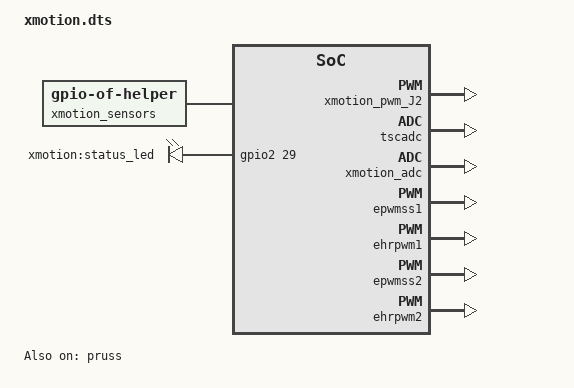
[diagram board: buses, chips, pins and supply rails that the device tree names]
// Copyright 2013
// Charles Steinkuehler <charles@steinkuehler.net>
//
// This program is free software; you can redistribute it and/or modify
// it under the terms of the GNU General Public License as published by
// the Free Software Foundation; either version 2 of the License, or
// (at your option) any later version.
//
// This program is distributed in the hope that it will be useful,
// but WITHOUT ANY WARRANTY; without even the implied warranty of
// MERCHANTABILITY or FITNESS FOR A PARTICULAR PURPOSE.  See the
// GNU General Public License for more details.
//
// You should have received a copy of the GNU General Public License
// along with this program; if not, write to the Free Software
// Foundation, Inc., 59 Temple Place, Suite 330, Boston, MA 02111-1307 USA

/dts-v1/;
/plugin/;

/ {
	compatible = "ti,beaglebone", "ti,beaglebone-black";

	/* identification */
	part-number = "xmotion";
	version = "1";

	exclusive-use =
	/* state the resources this cape uses */
	//"P9.24",	/* gpio0.15	UartTX	*/
	//"P9.26",	/* gpio0.14	UartRX	*/
	/* ------ IO POWER ------ */

		"P8.7",		/* gpio2.2  Power_Enable */

	/* ------ PWM ------ */

		"P8.13",	/* gpio0.23  EHRPWM2B   PWM0  */
		"ehrpwm1A",
		"ehrpwm2A",

	/* ------ AUX OUTPUTS ------*/

		"P8.26",	/* gpio1.29	Aux1RLY	*/
		"P9.28",	/* gpio3.17	Aux2RLY */
		"P9.41",	/* *P9_41A* gpio0.20	AUX3RLY	*/
		"P9.27",	/* gpio3.19	Aux4RLY */


	/* ------ STEPPERS ------ */

		"P8.12",	/* gpio1.12  #X_STEP */
		"P8.11",	/* gpio1.13  #X_DIR */
		"P8.16",	/* gpio1.14  #y1_step */
		"P8.15",	/* gpio1.15  #y1_dir */
		"P9.15",	/* gpio1.16  #Z_STEP */
		"P9.23",	/* gpio1.17  #Z_DIR */
		"P9.22",	/* gpio0.2   #y2_STEP */
		//"P9.21",	/* gpio0.3   #y2_dir */
		"P9.18",	/* gpio0.2   #A_STEP */
		"P9.17",	/* gpio0.5   #A_DIR */
							//"P9.12",        /* gpio1.28  DMUX_CLK */
		"pru1",
		"pruss",

	/* ------ SENSORS ------ */

		"P8.8",		/* gpio2.3	Home_X	*/
		"P8.9",		/* gpio2.5	Home_Y1	*/
		"P8.10",	/* gpio2.4	Home_b	*/
		"P8.14",	/* gpio0.26	Home_Z	*/
		"P8.17",	/* gpio0.27	TorchUp	*/
		"P8.18",	/* gpio2.1	TorchDn	*/
		"P9.31",	/* gpio3.14	Input4 */
		"P9.30",	/* gpio3.16	Input3	*/
		"P9.29",	/* gpio3.15	Input2	*/
		"P9.25",	/* gpio3.21	Input1	*/
		"P9.12",	/* gpio1.28	ESTOP	*/
		"P8.19",	/* gpio0.22	ArcOK	*/
		"P9.16",	/* gpio1.19	FloHead */
		"P9.13",	/* gpio0.31	Z_ALERT */
		//"P9.12",	/* gpio1.28	A_ALERT */
		"P9.11",	/* gpio0.30	b_ALERT*/
		"P9.42",	/* gpio3.18	X_ALERT */
		"P9.14",	/* gpio1.18	Y1_ALERT*/


	/* ------ ADC ------ */

		"P9.33",	/* AIN4		ANALOG1	*/
		"P9.35",	/* AIN6		ANALOG2	*/
		"P9.36",	/* AIN5		ANALOG3	*/
		"P9.37",	/* AIN2		ANALOG4 */
		"tscadc",

	/* ------ LED ------ */

  	"P8.26";        /* gpio1.29       LED     */

		/* ----------- IO ENABLE ------------ */

		fragment@0 {
			target = <&am33xx_pinmux>;
			__overlay__ {

				xmotion_io_enable_pins: pinmux_xmotion_io_enable_pins {
					pinctrl-single,pins = <
						//0x090 0x07  /*  P8-7 TIMER4     gpmc_advn_ale.gpio2[2] */
					>;
				};
			};
		};

		fragment@1 {
			target = <&ocp>;
			__overlay__ {

				xmotion_io_enables {
					compatible = "gpio-of-helper";
					status = "okay";
					pinctrl-names = "default";
					pinctrl-0 = <&xmotion_io_enable_pins>;

					/*io_enable_n {
						gpio-name = "xmotion:io_enable_n";
						gpio = <&gpio3 2 0>;
						output;
						init-high;
					};*/
				};
			};
		};

		/* ----------- PWM ------------ */

		fragment@11 {
			target = <&epwmss1>;
			__overlay__ {
				status = "okay";
			};
		};

		fragment@12 {
			target = <&ehrpwm1>;
			__overlay__ {
				status = "okay";
			};
		};

		fragment@13 {
			target = <&epwmss2>;
			__overlay__ {
				status = "okay";
			};
		};

		fragment@14 {
			target = <&ehrpwm2>;
			__overlay__ {
				status = "okay";
			};
		};

		fragment@15 {
				target = <&am33xx_pinmux>;
				__overlay__ {

				// J2_PWM0
					P8_13_ehrpwm_pin: pinmux_P8_13_ehrpwm_pin {
						pinctrl-single,pins = <0x024  0x4>; /* P8_13 (ZCZ ball T10) | MODE 4 */
					};

					P8_13_gpio_pin: pinmux_P8_13_gpio_pin {
						pinctrl-single,pins = <0x024  0x7>; /* P8_13 (ZCZ ball T10) | MODE 7 */
					};

					// J3_PWM1
					/*P8_19_ehrpwm_pin: pinmux_P8_19_ehrpwm_pin {
						pinctrl-single,pins = <0x020  0x4>; // P8_19 (ZCZ ball U10) | MODE 4
					};

					P8_19_gpio_pin: pinmux_P8_19_gpio_pin {
						pinctrl-single,pins = <0x020  0x7>; // P8_19 (ZCZ ball U10) | MODE 7
					};*/

				// J4_PWM2
					P9_14_ehrpwm_pin: pinmux_P9_14_ehrpwm_pin {
						pinctrl-single,pins = <0x048  0x6>; /* P9_14 (ZCZ ball U14) | MODE 6 */
					};

					P9_14_gpio_pin: pinmux_P9_14_gpio_pin {
						pinctrl-single,pins = <0x048  0x7>; /* P9_14 (ZCZ ball U14) | MODE 7 */
					};
				};
			};

		fragment@16 {
			target = <&ocp>;
			__overlay__ {

				xmotion_pwm_J2_pinmux {
					compatible = "bone-pinmux-helper";
					status = "okay";

					pinctrl-names = "default", "gpio";
					pinctrl-0 = <&P8_13_ehrpwm_pin>;
					pinctrl-1 = <&P8_13_gpio_pin>;
				};

				/*xmotion_pwm_J3_pinmux {
					compatible = "bone-pinmux-helper";
					status = "okay";

					pinctrl-names = "default", "gpio";
					pinctrl-0 = <&P8_19_ehrpwm_pin>;
					pinctrl-1 = <&P8_19_gpio_pin>;
				};*/

				xmotion_pwm_J2 {
					compatible	= "pwm_test";
					pwms		= <&ehrpwm2 1 10000000 0>;
					pwm-names	= "PWM0_J2_FAN";
					enabled		= <0>;
					duty		= <0>;
					status		= "okay";
				};

				/*xmotion_pwm_J3 {
					compatible	= "pwm_test";
					pwms		= <&ehrpwm2 0 10000000 0>;
					pwm-names	= "PWM1_J3_EXTR";
					enabled		= <0>;
					duty		= <0>;
					status		= "okay";
				};*/
			};
		};

		/* ----------- STEPPERS & AUX Outputs ------------ */

		fragment@21 {
			target = <&am33xx_pinmux>;
			__overlay__ {

				xmotion_stepper_pins: pinmux_xmotion_stepper_pins {
					status = "okay";
					pinctrl-single,pins = <
						/* stepper outputs */
						0x030 0x07	/* #X_STEP, P8_12, gpio1.12, mode7 out */
						0x034 0x07	/* #X_DIR, P8_11, gpio1.13, mode7 out */

						0x038 0x07	/* #y1_step, P8_16, gpio1.14, mode7 out */
						0x03c 0x07	/* #y1_dir, P8_15, gpio1.15, mode7 out */

						0x040 0x07	/* #Z_STEP, P9_15, gpio1.16, mode7 out */
						0x044 0x07	/* #Z_DIR, P9_23, gpio1.17, mode7 out */

						0x150 0x07	/* #y2_STEP, P9_22, gpio0.2,  mode7 out */
						0x154 0x07	/* #y2_dir, P9_21, gpio0.3,  mode7 out */

						0x158 0x07	/* #A_STEP, P9_18, gpio0.4,  mode7 out */
						0x15c 0x07	/* #A_DIR, P9_17, gpio0.5,  mode7 out */

						//0x078 0x07	/* DMUX_CLK P9_12, gpio1.28, mode7 out */

						/* aux outputs */
						0x07c 0x07	/* #Aux1RLY, P8_26, gpio1.29,  mode7 out */
						0x19c 0x07	/* #Aux2RLY, P9_28, gpio3.17,  mode7 out */
						0x1b4 0x07	/* #Aux3RLY, P9_41A, gpio0.20,  mode7 out */
						0x1a4 0x07	/* #Aux4RLY, P9_27, gpio3.19,  mode7 out */

						0x090 0x07	/* #PwrEN, P8_7, gpio2.2,  mode7 out */
					>;
				};
			};
		};

		fragment@22 {
			target = <&ocp>;
			__overlay__ {

				xmotion_steppers {
					compatible = "gpio-of-helper";
					status = "okay";
					pinctrl-names = "default";
					pinctrl-0 = <&xmotion_stepper_pins>;

					x_step {
						gpio-name = "xmotion:x_step";
						gpio = <&gpio2 12 0>;
						output;
						init-low;
					};
					x_dir {
						gpio-name = "xmotion:x_dir";
						gpio = <&gpio2 13 0>;
						output;
						init-low;
					};
					y1_step {
						gpio-name = "xmotion:y1_step";
						gpio = <&gpio2 14 0>;
						output;
						init-low;
					};
					y1_dir {
						gpio-name = "xmotion:y1_dir";
						gpio = <&gpio2 15 0>;
						output;
						init-low;
					};
					z_step {
						gpio-name = "xmotion:z_step";
						gpio = <&gpio2 16 0>;
						output;
						init-low;
					};
					z_dir {
						gpio-name = "xmotion:z_dir";
						gpio = <&gpio2 17 0>;
						output;
						init-low;
					};

					y2_step {
						gpio-name = "xmotion:y2_step";
						gpio = <&gpio1 2 0>;
						output;
						init-low;
					};
					y2_dir {
						gpio-name = "xmotion:y2_dir";
						gpio = <&gpio1 3 0>;
						output;
						init-low;
					};
					a_step {
						gpio-name = "xmotion:a_step";
						gpio = <&gpio1 4 0>;
						output;
						init-low;
					};
					a_dir {
						gpio-name = "xmotion:a_dir";
						gpio = <&gpio1 5 0>;
						output;
						init-low;
					};

					/*dmux_clk {
						gpio-name = "bebopr:dmux_clk";
						gpio = <&gpio2 28 0>;
						output;
						init-high;
					};*/

					/* ------- AUX Relays ------------*/

					aux1_relay {
						gpio-name = "xmotion:aux1_relay";
						gpio = <&gpio2 29 0>;
						output;
						init-high;
					};
					aux2_relay {
						gpio-name = "xmotion:aux2_relay";
						gpio = <&gpio4 17 0>;
						output;
						init-high;
					};
					aux3_relay {
						gpio-name = "xmotion:aux3_relay";
						gpio = <&gpio1 20 0>;
						output;
						init-high;
					};
					aux4_relay {
						gpio-name = "xmotion:aux4_relay";
						gpio = <&gpio4 19 0>;
						output;
						init-high;
					};

					/* ----------- PWR Enable ---------------- */
					power_enable {
						gpio-name = "xmotion:power_enable";
						gpio = <&gpio3 2 0>;
						output;
						init-low;
					};

				};
			};
		};

		fragment@23 {
			target = <&pruss>;
			__overlay__ {
				status = "okay";
			};
		};

		/* ----------- SENSORS ------------ */

		fragment@31 {
			target = <&am33xx_pinmux>;
			__overlay__ {

				xmotion_sensor_pins: pinmux_xmotion_sensor_pins {
					status = "okay";
					pinctrl-single,pins = <
						0x094 0x3f	/* P8.8		gpio2.3		Home_X	*/
						0x09c 0x3f	/* P8.9		gpio2.5		Home_Y1	*/
						0x098 0x3f	/* P8.10	gpio2.4		Home_b	*/
						0x028 0x3f	/* P8.14	gpio0.26	Home_Z	*/
						0x02c 0x3f	/* P8.17	gpio0.27	TorchUp	*/
						0x08c 0x3f	/* P8.18	gpio2.1		TorchDn	*/
						0x190 0x3f	/* p9.31	gpio3.14	Input4	*/
						0x198 0x3f	/* p9.30	gpio3.16	Input3	*/
						0x194 0x3f	/* p9.29	gpio3.15	Input2	*/
						0x1ac 0x3f	/* p9.25	gpio3.21	Input1	*/

						0x078 0x3f	/* p9.12	gpio1.28	ESTOP	*/
						0x020 0x3f	/* p8.19	gpio0.22	ArcOK	*/
						0x04c 0x3f	/* p9.16	gpio1.19	FloHead	*/
						0x074 0x3f	/* p9.13	gpio0.31	Z_ALERT	*/
						0x070 0x3f	/* p9.11	gpio0.30	b_ALERT*/
						0x1a0 0x3f	/* p9.42	gpio3.18	X_ALERT	*/
						0x048 0x3f	/* p9.14	gpio1.18	Y1_ALERT*/
					>;
				};
			};
		};

		fragment@33 {
			target = <&ocp>;
			__overlay__ {

				xmotion_sensors {
					compatible = "gpio-of-helper";
					status = "okay";
					pinctrl-names = "default";
					pinctrl-0 = <&xmotion_sensor_pins>;

					home_x {
						gpio-name = "xmotion:home_x";
						gpio = <&gpio3 3 0>;
						input;
					};
					home_y1 {
						gpio-name = "xmotion:home_y1";
						gpio = <&gpio3 5 0>;
						input;
					};
					home_b {
						gpio-name = "xmotion:home_b";
						gpio = <&gpio3 4 0>;
						input;
					};
					home_z {
						gpio-name = "xmotion:home_z";
						gpio = <&gpio1 26 0>;
						input;
					};
					torch_up {
						gpio-name = "xmotion:torch_up";
						gpio = <&gpio1 27 0>;
						input;
					};
					torch_down {
						gpio-name = "xmotion:torch_down";
						gpio = <&gpio3 1 0>;
						input;
					};
					input_4 {
						gpio-name = "xmotion:input_4";
						gpio = <&gpio4 14 0>;
						input;
					};
					input_3 {
						gpio-name = "xmotion:input_3";
						gpio = <&gpio4 16 0>;
						input;
					};
					input_2 {
						gpio-name = "xmotion:input_2";
						gpio = <&gpio4 15 0>;
						input;
					};
					input_1 {
						gpio-name = "xmotion:input_1";
						gpio = <&gpio4 21 0>;
						input;
					};
					estop {
						gpio-name = "xmotion:estop";
						gpio = <&gpio2 28 0>;
						input;
					};
					arc_ok {
						gpio-name = "xmotion:arc_ok";
						gpio = <&gpio1 22 0>;
						input;
					};
					floating_head {
						gpio-name = "xmotion:floating_head";
						gpio = <&gpio2 19 0>;
						input;
					};
					z_alert {
						gpio-name = "xmotion:z_alert";
						gpio = <&gpio1 31 0>;
						input;
					};
					b_alert {
						gpio-name = "xmotion:b_alert";
						gpio = <&gpio1 30 0>;
						input;
					};
					x_alert {
						gpio-name = "xmotion:x_alert";
						gpio = <&gpio4 18 0>;
						input;
					};
					y1_alert {
						gpio-name = "xmotion:y1_alert";
						gpio = <&gpio2 18 0>;
						input;
					};
				};
			};
		};

		/* ----------- ADC ------------ */

	        /* no pinmux needed */

		fragment@41 {
			target = <&ocp>;
			__overlay__ {

				#address-cells = <1>;
				#size-cells = <1>;

				tscadc {
					compatible = "ti,ti-tscadc";
					status = "okay";

					reg = <0x44e0d000 0x1000>;
					interrupt-parent = <&intc>;
					interrupts = <16>;
					ti,hwmods = "adc_tsc";
					adc {
						ti,adc-channels = <0 1 2 3 4 5 6 7>;
					};
				};

				xmotion_adc {
					compatible = "bone-iio-helper";
					status = "okay";
					/* scale to raw bit value */
					vsense-name  = "AIN0", "AIN1", "AIN2", "AIN3", "AIN4", "AIN5", "AIN7";
					vsense-scale = < 228     228     228     228     228     228     228>;
				};

			};
		};


		/* ----------- LED ------------ */

		fragment@51 {
			target = <&am33xx_pinmux>;
			__overlay__ {

	 			xmotion_led_pins: pinmux_xmotion_led_pins {
					pinctrl-single,pins = <
						//0x07c 0x07    /* P8-26 GPIO1_29   gpmc_csn0.gpio1[29]    */
					>;
				};
			};
		};

		fragment@52 {
			target = <&ocp>;
			__overlay__ {

				xmotion_leds {
					compatible = "gpio-leds";
					pinctrl-names = "default";
					pinctrl-0 = <&xmotion_led_pins>;

					status_led {
						label = "xmotion:status_led";
						gpios = <&gpio2 29 0>;
						linux,default-trigger = "heartbeat";
						default-state = "off";
					};
				};
			};
		};

		/* ----------- ADS1015 ------------ */

	/*
		fragment@61 {
			target = <&i2c2>;
			__overlay__ {
				// needed to avoid gripping by DTC
				#address-cells = <1>;
				#size-cells = <0>;
				status = "okay";	// probably already set

				ads1015: ads1015@48 {

					compatible = "ti,ads1015";
					status = "okay";

			           	#address-cells = <1>;
					#size-cells = <0>;
					reg = <0x48>;

					hi_res = <1>;

					channel@1 {
				   	     	  reg = <4>;
					     	  ti,gain = <2>;
					     	  ti,datarate = <2>;
				   	};
					channel@2 {
				   	     	  reg = <5>;
					     	  ti,gain = <2>;
					     	  ti,datarate = <2>;
				   	};
					channel@3 {
				   	     	  reg = <6>;
					     	  ti,gain = <2>;
					     	  ti,datarate = <2>;
				   	};
					channel@4 {
				   	     	  reg = <0>;
					     	  ti,gain = <3>;
					     	  ti,datarate = <2>;
				   	};
		        	};
			};

		};
	*/

	};
